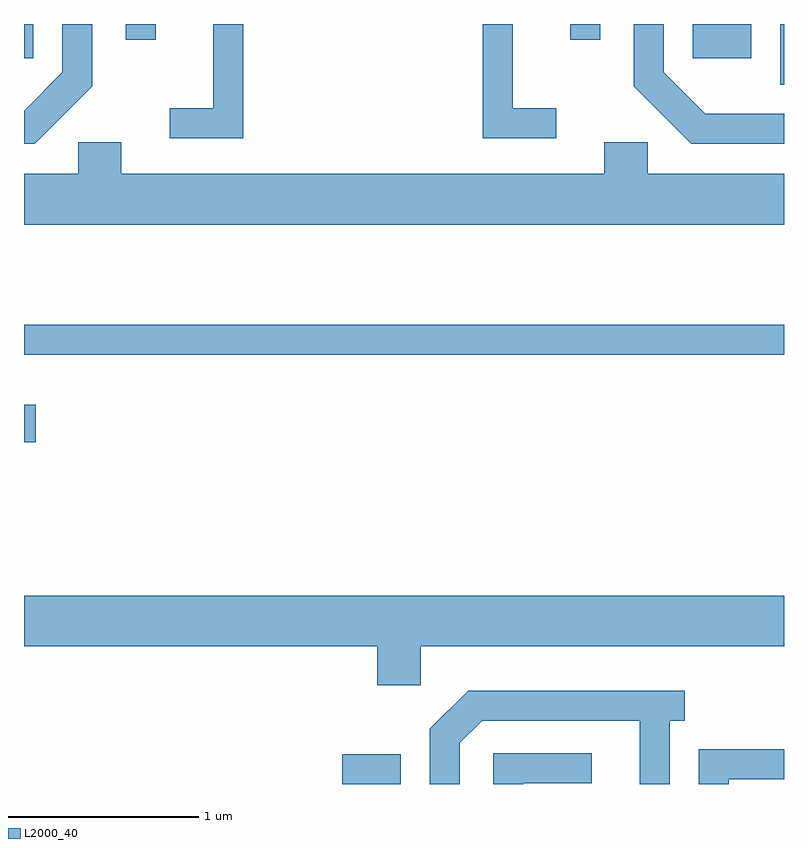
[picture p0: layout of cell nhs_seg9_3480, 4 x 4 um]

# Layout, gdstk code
import gdstk
lib = gdstk.Library(unit=1e-6, precision=1e-09)
def R(c, l, rs):  # rectangles x0, y0, x1, y1
    for r in rs: c.add(gdstk.rectangle(r[:2], r[2:], *l))
def P(c, l, *ps):  # polygons
    for p in ps: c.add(gdstk.Polygon(p, *l))
L2000_40 = (2000, 40)

nhs_seg9_3480 = lib.new_cell('nhs_seg9_3480')
R(nhs_seg9_3480, L2000_40, [(289.286,1984.432,289.594,1984.589), (287.611,1986.231,287.674,1986.429), (287.611,1986.691,291.611,1986.849), (291.591,1988.111,291.611,1988.432), (287.611,1988.251,287.659,1988.432), (291.131,1988.251,291.439,1988.432), (288.146,1988.348,288.304,1988.432), (290.486,1988.348,290.644,1988.432)])
P(nhs_seg9_3480, L2000_40, [(287.969,1988.104),(287.969,1988.432),(287.811,1988.432),(287.811,1988.177),(287.611,1987.976),(287.611,1987.801),(287.667,1987.801)],
  [(288.764,1988.432),(288.606,1988.432),(288.606,1987.989),(288.378,1987.989),(288.378,1987.831),(288.764,1987.831)],
  [(291.611,1987.959),(291.197,1987.959),(290.979,1988.177),(290.979,1988.432),(290.821,1988.432),(290.821,1988.104),(291.124,1987.801),(291.611,1987.801)],
  [(290.413,1987.989),(290.184,1987.989),(290.184,1988.432),(290.026,1988.432),(290.026,1987.831),(290.413,1987.831)],
  [(291.611,1987.644),(290.894,1987.644),(290.894,1987.809),(290.666,1987.809),(290.666,1987.644),(288.124,1987.644),(288.124,1987.809),(287.896,1987.809),(287.896,1987.644),(287.611,1987.644),(287.611,1987.376),(291.611,1987.376)],
  [(289.699,1985.156),(291.611,1985.156),(291.611,1985.424),(287.611,1985.424),(287.611,1985.156),(289.471,1985.156),(289.471,1984.951),(289.699,1984.951)],
  [(289.904,1984.649),(290.022,1984.766),(290.851,1984.766),(290.851,1984.432),(291.009,1984.432),(291.009,1984.766),(291.088,1984.766),(291.088,1984.924),(289.949,1984.924),(289.746,1984.722),(289.746,1984.432),(289.904,1984.432)],
  [(291.319,1984.456),(291.611,1984.456),(291.611,1984.614),(291.161,1984.614),(291.161,1984.432),(291.319,1984.432)],
  [(290.239,1984.436),(290.598,1984.436),(290.598,1984.594),(290.081,1984.594),(290.081,1984.432),(290.239,1984.432)])

lib.write_gds('nhs_seg9_3480.gds')
